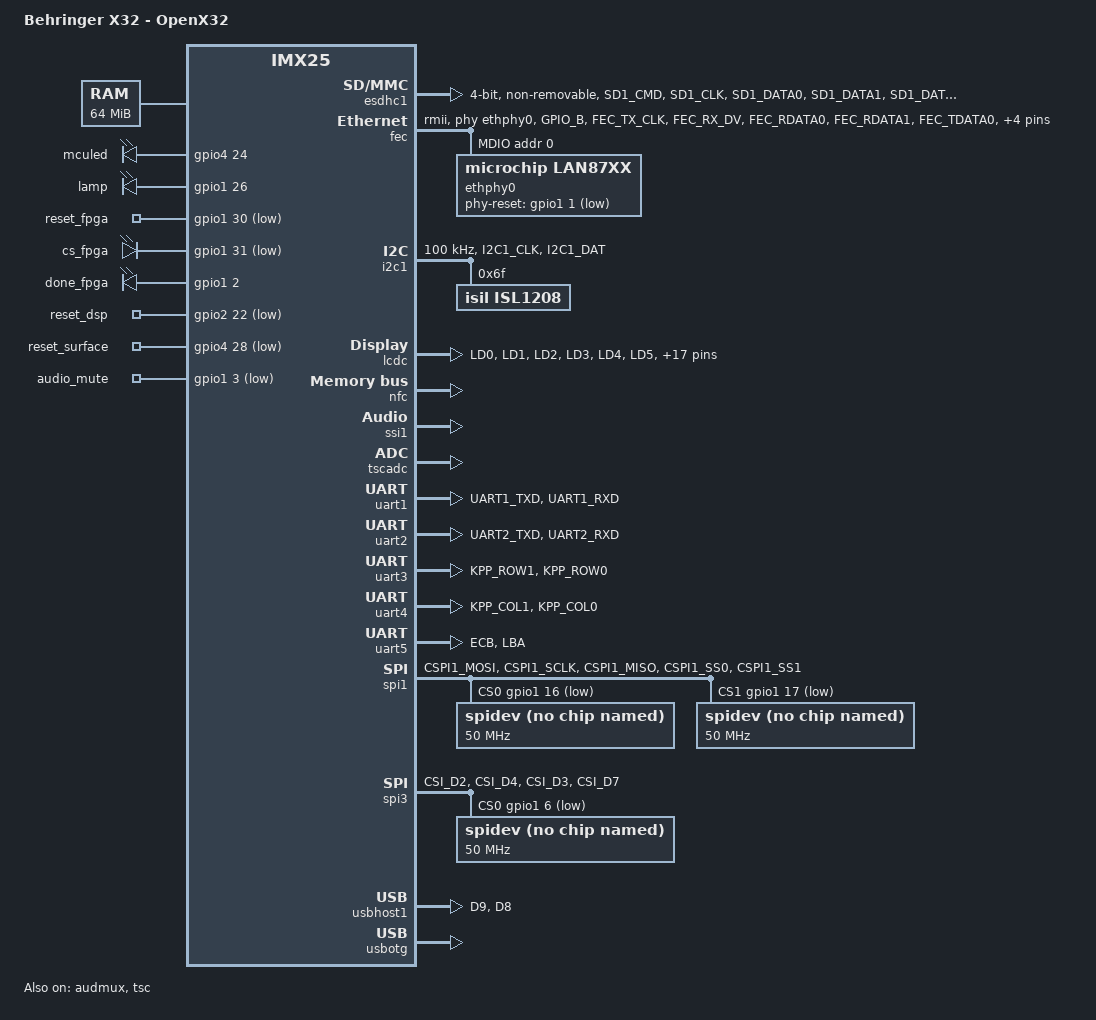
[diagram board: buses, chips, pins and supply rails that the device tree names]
// SPDX-License-Identifier: GPL-2.0+
//
// Copyright 2013 Freescale Semiconductor, Inc.

/dts-v1/;
#include <dt-bindings/gpio/gpio.h>
#include <dt-bindings/input/input.h>
#include <dt-bindings/sound/fsl-imx-audmux.h>
#include "imx25.dtsi"

/ {
	model = "Behringer X32 - OpenX32";
	compatible = "fsl,imx25-pdk", "fsl,imx25";

	memory@80000000 {
		device_type = "memory";
		reg = <0x80000000 0x4000000>;
	};

	sound {
		compatible = "simple-audio-card";
		status = "okay";
//		ssi-controller = <&ssi1>;
		simple-audio-card,name = "imx25_soundcard";
		simple-audio-card,format = "i2s";
		simple-audio-card,bitclock-master = <&sound_master>;
		simple-audio-card,frame-master = <&sound_master>;
		
//		mux-int-port = <1>;
//		mux-ext-port = <6>;

		simple-audio-card,routing =
			"LINE_IN", "Audio input",
			"Audio output", "LINE_OUT";

		sound_master: simple-audio-card,cpu {
			sound-dai = <&ssi1>;
		};

		simple-audio-card,codec {
			sound-dai = <&dummy_codec>;
		};

		dummy_codec: codec {
		    compatible = "linux,snd-soc-dummy";
		    #sound-dai-cells = <0>;
		    status = "okay";
		};
	};

	wvga: display {
		model = "Innolux-AT070TN";
		bits-per-pixel = <32>;
		bus-width = <18>;
		fsl,pcr = <0xFC228082>;
		display-timings {
			native-mode = <&wvga_timings>;
			wvga_timings: timing0 {
				hactive = <800>;
				hfront-porch = <208>;
				hback-porch = <47>;
				hsync-len = <1>;
				vactive = <480>;
				vfront-porch = <130>;
				vback-porch = <24>;
				vsync-len = <1>;
				clock-frequency = <40000000>;
				//hsync-active = <0>; // asserted when LOW
				//vsync-active = <0>; // asserted when LOW
				de-active = <1>; // asserted when HIGH
				pixelclk-active = <1>; // 1 = falling edge
			};
		};
	};

        leds {
		compatible = "gpio-leds";
		pinctrl-names = "default";
		pinctrl-0 = <&pinctrl_gpioleds>;

		mculed {
			label = "mculed";
			gpios = <&gpio4 24 GPIO_ACTIVE_HIGH>;
			linux,default-trigger = "heartbeat";
		};

		lamp {
			label = "lamp";
			gpios = <&gpio1 26 GPIO_ACTIVE_HIGH>;
			default-state = "on";
		};

		reset_fpga {
			label = "reset_fpga";
			gpios = <&gpio1 30 GPIO_ACTIVE_LOW>;
			default-state = "off";
		};

		cs_fpga {
			label = "cs_fpga";
			gpios = <&gpio1 31 GPIO_ACTIVE_LOW>;
			default-state = "off";
		};

		done_fpga {
			label = "done_fpga";
			gpios = <&gpio1 2 GPIO_ACTIVE_HIGH>;
			default-state = "off";
		};

		reset_dsp {
			label = "reset_dsp";
			gpios = <&gpio2 22 GPIO_ACTIVE_LOW>;
			default-state = "off";
		};

		reset_surface {
			label = "reset_surface";
			gpios = <&gpio4 28 GPIO_ACTIVE_LOW>;
			default-state = "off";
		};

		audio_mute {
			label = "audio_mute";
			gpios = <&gpio1 3 GPIO_ACTIVE_LOW>;
			default-state = "off";
		};
        };
};

&esdhc1 {
	pinctrl-names = "default";
	pinctrl-0 = <&pinctrl_esdhc1>;
	bus-width = <4>;
    max-frequency = <50000000>;
    non-removable;
	status = "okay";
};

&fec {
	pinctrl-names = "default";
	pinctrl-0 = <&pinctrl_fec>;
	phy-mode = "rmii";
	phy-handle = <&ethphy0>;
//	local-mac-address = [02 00 00 00 00 01];
	status = "okay";

	mdio {
		#address-cells = <1>;
		#size-cells = <0>;

		ethphy0: ethernet-phy@0 {
			compatible = "microchip,lan87xx", "ethernet-phy-ieee802.3-c22";
			reg = <0>;
			//max-speed = <100>;
			phy-type = "microchip,lan87xx";
			phy-address = <0>;
			mdio_bus_num = <0>;
			phy-reset-gpios = <&gpio1 1 GPIO_ACTIVE_LOW>;
			phy-reset-duration = <5>;
		};
	};
};

&i2c1 {
	clock-frequency = <100000>;
	pinctrl-names = "default";
	pinctrl-0 = <&pinctrl_i2c1>;
	status = "okay";

	isl1208: rtc@6f {
		compatible = "isil,isl1208";
		reg = <0x6f>;
	};
};

&iomuxc {
	imx25-pdk {
		pinctrl_esdhc1: esdhc1grp {
			fsl,pins = <

				// values from DCP-Loader
				MX25_PAD_SD1_CMD__ESDHC1_CMD		0x000000D1
				MX25_PAD_SD1_CLK__ESDHC1_CLK		0x000000D1
				MX25_PAD_SD1_DATA0__ESDHC1_DAT0		0x000000D1
				MX25_PAD_SD1_DATA1__ESDHC1_DAT1		0x000000D1
				MX25_PAD_SD1_DATA2__ESDHC1_DAT2		0x000000D1
				MX25_PAD_SD1_DATA3__ESDHC1_DAT3		0x000000D1

			>;
		};

		pinctrl_fec: fecgrp {
			fsl,pins = <

				// values from DCP-Loader
				MX25_PAD_GPIO_B__GPIO_1_1			0x00000000
				MX25_PAD_FEC_TX_CLK__FEC_TX_CLK		0x000001C1
				MX25_PAD_FEC_RX_DV__FEC_RX_DV		0x000000C1
				MX25_PAD_FEC_RDATA0__FEC_RDATA0		0x000000C1
				MX25_PAD_FEC_RDATA1__FEC_RDATA1		0x000000C1
				MX25_PAD_FEC_TDATA0__FEC_TDATA0		0x00000001
				MX25_PAD_FEC_TDATA1__FEC_TDATA1		0x00000001
				MX25_PAD_FEC_TX_EN__FEC_TX_EN		0x00000001
				MX25_PAD_FEC_MDC__FEC_MDC			0x00000001
				MX25_PAD_FEC_MDIO__FEC_MDIO			0x000001F1
				
			>;
		};

		pinctrl_i2c1: i2c1grp {
			fsl,pins = <
				MX25_PAD_I2C1_CLK__I2C1_CLK		0x0
				MX25_PAD_I2C1_DAT__I2C1_DAT		0x0
			>;
		};

		pinctrl_lcd: lcdgrp {
			fsl,pins = <
				// values from DCP-Loader
				MX25_PAD_LD0__LD0		0x0	// Slow Slew Rate, Standard drive strength, CMOS, 3.3V
				MX25_PAD_LD1__LD1		0x0
				MX25_PAD_LD2__LD2		0x0
				MX25_PAD_LD3__LD3		0x0
				MX25_PAD_LD4__LD4		0x0
				MX25_PAD_LD5__LD5		0x0
				MX25_PAD_LD6__LD6		0x0
				MX25_PAD_LD7__LD7		0x0
				MX25_PAD_LD8__LD8		0x0
				MX25_PAD_LD9__LD9		0x0
				MX25_PAD_LD10__LD10		0x0
				MX25_PAD_LD11__LD11		0x0
				MX25_PAD_LD12__LD12		0x0
				MX25_PAD_LD13__LD13		0x0
				MX25_PAD_LD14__LD14		0x0
				MX25_PAD_LD15__LD15		0x0
				MX25_PAD_D15__LD16		0x0
				MX25_PAD_D14__LD17		0x0
				MX25_PAD_HSYNC__HSYNC		0x0
				MX25_PAD_VSYNC__VSYNC		0x0
				MX25_PAD_LSCLK__LSCLK		0x0
				MX25_PAD_OE_ACD__OE_ACD		0x0
				MX25_PAD_CONTRAST__CONTRAST	0x0
			>;
		};

		pinctrl_uart1: uart1grp {
			fsl,pins = <
				// values from DCP-Loader
				MX25_PAD_UART1_TXD__UART1_TXD	0x0
				MX25_PAD_UART1_RXD__UART1_RXD	0xc0 // 100 KOhm pull down
			>;
		};

		pinctrl_uart2: uart2grp {
			fsl,pins = <
				// values from DCP-Loader
				MX25_PAD_UART2_TXD__UART2_TXD   0x0
				MX25_PAD_UART2_RXD__UART2_RXD   0xc0 // 100 KOhm pull down
			>;
		};
		
		pinctrl_uart3: uart3grp {
			fsl,pins = <
				MX25_PAD_KPP_ROW1__UART3_TXD    0x0
				MX25_PAD_KPP_ROW0__UART3_RXD    0xc0 // 100 KOhm pull down
			>;
		};
		
		pinctrl_uart4: uart4grp {
			fsl,pins = <
				MX25_PAD_KPP_COL1__UART4_TXD    0x0
				MX25_PAD_KPP_COL0__UART4_RXD    0xc0 // 100 KOhm pull down
			>;
		};
		
		pinctrl_uart5: uart5grp {
			fsl,pins = <
				MX25_PAD_ECB__UART5_TXD		0x0
				MX25_PAD_LBA__UART5_RXD		0xc0 // 100 KOhm pull down
			>;
		};
		
		pinctrl_usbh1_pwr: usbh1_pwr_pins {
			fsl,pins = <

				// values from DCP-Loader
				MX25_PAD_D9__GPIO_4_11		0x80 // Keeper enabled
				MX25_PAD_D8__GPIO_4_12		0xE0 // Pull up 100KOhm

			>;
		};

		pinctrl_audmux: audmuxgrp {
			fsl,pins = <
				MX25_PAD_CSI_VSYNC__AUD6_RXD	0xc0	// I2S RxD
				MX25_PAD_CSI_MCLK__AUD6_TXD		0x0		// I2S TxD
				MX25_PAD_CSI_HSYNC__AUD6_TXC	0x0		// I2S BitClock
				MX25_PAD_CSI_PIXCLK__AUD6_TXFS	0x0		// I2S FrameSync
			>;
		};

		pinctrl_spi1: spi1grp {
			fsl,pins = <
				MX25_PAD_CSPI1_MOSI__CSPI1_MOSI	0x0      // DSP SPI MOSI
				MX25_PAD_CSPI1_SCLK__CSPI1_SCLK	0x0      // DSP SPI SCLK
				MX25_PAD_CSPI1_MISO__CSPI1_MISO	0xc0	 // DSP SPI MISO
				MX25_PAD_CSPI1_SS0__GPIO_1_16	0xE0     // DSP SPI nCS DSP1
				MX25_PAD_CSPI1_SS1__GPIO_1_17	0xE0     // DSP SPI nCS DSP2
			>;
		};

		pinctrl_spi3: spi3grp {
			fsl,pins = <
				MX25_PAD_CSI_D2__CSPI3_MOSI	0x0			// FPGA SPI MOSI
				MX25_PAD_CSI_D4__CSPI3_SCLK	0x0			// FPGA SPI SCLK
				MX25_PAD_CSI_D3__CSPI3_MISO	0xc0		// FPGA SPI MISO
				//MX25_PAD_CSI_D6__GPIO_1_31	0x0		// FPGA nCS0
				MX25_PAD_CSI_D7__GPIO_1_6	0x0			// FPGA nCS1
			>;
		};

		pinctrl_gpioleds: gpioledgrp {
			fsl,pins = <
				MX25_PAD_UART1_RTS__GPIO_4_24	0x0		// MCU_LED
				MX25_PAD_PWM__GPIO_1_26		0x0			// Desk-LAMP
				MX25_PAD_CSI_D5__GPIO_1_30	0x0			// FPGA nPROG
				//MX25_PAD_GPIO_C__GPIO_1_2	0x0C		// FPGA DONE
				MX25_PAD_CSPI1_RDY__GPIO_2_22	0x0     // DSP nRESET
				MX25_PAD_UART2_RTS__GPIO_4_28	0x0		// Surface nRESET
				MX25_PAD_GPIO_D__GPIO_1_3	0x0			// MUTEOFF
			>;
		};

		pinctrl_gpio1: gpio1grp {
			fsl,pins = <
				//MX25_PAD_CSI_D5__GPIO_1_30	0x0	// FPGA nPROG
				MX25_PAD_GPIO_C__GPIO_1_2	0xc0		// FPGA DONE
			>;
		};

//		pinctrl_gpio2: gpio2grp {
//                        fsl,pins = <
//				MX25_PAD_CSPI1_RDY__GPIO_2_22	0x0      // DSP nRESET
//				MX25_PAD_KPP_ROW0__GPIO_2_29	0xc0		// FPGA nINIT_B
//			>;
//		};
//
//		pinctrl_gpio3: gpio3grp {
//			fsl,pins = <
//			>;
//		};
//
//		pinctrl_gpio4: gpio4grp {
//			fsl,pins = <
//				MX25_PAD_UART1_RTS__GPIO_4_24	0x0	// MCU_LED
//				MX25_PAD_UART2_RTS__GPIO_4_28	0x0	// Surface nRESET
//			>;
//		};
	};
};

&lcdc {
	display = <&wvga>;
	fsl,lpccr = <0x00a903ff>;  // Contrast Control Register   -> PWM-Source == Pixel-Clock 
	pinctrl-names = "default";
	pinctrl-0 = <&pinctrl_lcd>;
	status = "okay";
};

&nfc {
	nand-on-flash-bbt;
	status = "okay";
};

&ssi1 {
	fsl,mode = "i2s-master";
	status = "okay";
};

#define AUD_PORT_1 0
#define AUD_PORT_6 5
&audmux {
	pinctrl-names = "default";
	pinctrl-0 = <&pinctrl_audmux>;
	status = "okay";

	ssi1 {
		fsl,audmux-port = <AUD_PORT_1>;
		fsl,port-config = <
			0x00000000
			IMX_AUDMUX_V2_PDCR_RXDSEL(AUD_PORT_6)
		>;
	};

        port6 {
		fsl,audmux-port = <AUD_PORT_6>;
		fsl,port-config = <
			(IMX_AUDMUX_V2_PTCR_TFSDIR |
			IMX_AUDMUX_V2_PTCR_TFSEL(AUD_PORT_1) |
			IMX_AUDMUX_V2_PTCR_TCLKDIR |
			IMX_AUDMUX_V2_PTCR_TCSEL(AUD_PORT_1))
			IMX_AUDMUX_V2_PDCR_RXDSEL(AUD_PORT_1)
		>;
        };
};

&tsc {
	status = "okay";
};

&tscadc {
	status = "okay";
};

&uart1 {
	pinctrl-names = "default";
	pinctrl-0 = <&pinctrl_uart1>;
	status = "okay";
};

&uart2 {
	pinctrl-names = "default";
	pinctrl-0 = <&pinctrl_uart2>;
	status = "okay";
};

&uart3 {
	pinctrl-names = "default";
	pinctrl-0 = <&pinctrl_uart3>;
	status = "okay";
};

&uart4 {
	pinctrl-names = "default";
	pinctrl-0 = <&pinctrl_uart4>;
	status = "okay";
};

&uart5 {
	pinctrl-names = "default";
	pinctrl-0 = <&pinctrl_uart5>;
	status = "okay";
};

&gpio1 {
	pinctrl-names = "default";
	pinctrl-0 = <&pinctrl_gpio1>;
	status = "okay";
};

//&gpio2 {
//	pinctrl-names = "default";
//	pinctrl-0 = <&pinctrl_gpio2>;
//	status = "okay";
//};
//
//&gpio3 {
//	pinctrl-names = "default";
//	pinctrl-0 = <&pinctrl_gpio3>;
//	status = "okay";
//};
//
//&gpio4 {
//	pinctrl-names = "default";
//	pinctrl-0 = <&pinctrl_gpio4>;
//	status = "okay";
//};

&spi1 {
	pinctrl-names = "default";
	pinctrl-0 = <&pinctrl_spi1>;
	status = "okay";
	cs-gpios = <&gpio1 16 GPIO_ACTIVE_LOW>, <&gpio1 17 GPIO_ACTIVE_LOW>;
	num-cs = <2>;

	spidev@0 {
		compatible = "rohm,dh2228fv"; // actually spidev
		reg = <0>;
		spi-max-frequency = <50000000>;
	};

	spidev@1 {
		compatible = "rohm,dh2228fv"; // actually spidev
		reg = <1>;
		spi-max-frequency = <50000000>;
	};
};

&spi3 {
	pinctrl-names = "default";
	pinctrl-0 = <&pinctrl_spi3>;
	status = "okay";
	//cs-gpios = <&gpio1 31 GPIO_ACTIVE_LOW>, <&gpio1 6 GPIO_ACTIVE_LOW>;
	cs-gpios = <&gpio1 6 GPIO_ACTIVE_LOW>;
	//num-cs = <2>;
	num-cs = <1>;

        spidev@0 {
                compatible = "rohm,dh2228fv"; // actually spidev
                reg = <0>;
                spi-max-frequency = <50000000>;
        };

        //spidev@1 {
        //        compatible = "rohm,dh2228fv"; // actually spidev
        //        reg = <1>;
        //        spi-max-frequency = <50000000>;
        //};
};

&usbhost1 {
	power-gpios = <&gpio4 11 GPIO_ACTIVE_HIGH>;
	over-current-gpios = <&gpio4 12 GPIO_ACTIVE_LOW>;
	pinctrl-names = "default";
	pinctrl-0 = <&pinctrl_usbh1_pwr>;
	status = "okay";
};

&usbotg {
	external-vbus-divider;
	status = "okay";
};
